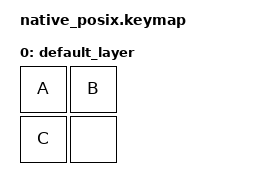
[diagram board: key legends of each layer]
#include <dt-bindings/zmk/keys.h>
#include <behaviors.dtsi>
#include <dt-bindings/zmk/kscan-mock.h>

/*
    combo 01 timeout 50
    combo 012 timeout 100
    AB is pressed within 50ms, C is never pressed.
    expected outcome: AB after 100ms
*/
/ {
	behaviors {
		combo_two {
			compatible = "zmk,behavior-combo";
			label = "COMBO_TWO";
			timeout-ms = <50>;
			key-positions = <0 1>;
			bindings = <&kp Y>;
		};

		combo_three {
			compatible = "zmk,behavior-combo";
			label = "COMBO_THREE";
			timeout-ms = <100>;
			key-positions = <0 1 2>;
			bindings = <&kp X>;
		};
	};

	keymap {
		compatible = "zmk,keymap";
		label ="Default keymap";

		default_layer {
			bindings = <
				&kp A &kp B
				&kp C &none
			>;
		};
	};
};

&kscan {
	events = <
		/* if you're debugging these, remember that the timer can be triggered between 
		  events while stepping through code. */
		/* all permutations of combo two press and release, combo triggered by timeout */
		ZMK_MOCK_PRESS(0,0,10) 
		ZMK_MOCK_PRESS(0,1,100) 
		ZMK_MOCK_RELEASE(0,0,10) 
		ZMK_MOCK_RELEASE(0,1,10)

		ZMK_MOCK_PRESS(0,1,10) 
		ZMK_MOCK_PRESS(0,0,100) 
		ZMK_MOCK_RELEASE(0,1,10)
		ZMK_MOCK_RELEASE(0,0,10) 

		ZMK_MOCK_PRESS(0,1,10) 
		ZMK_MOCK_PRESS(0,0,100) 
		ZMK_MOCK_RELEASE(0,0,10) 
		ZMK_MOCK_RELEASE(0,1,10)

		ZMK_MOCK_PRESS(0,0,10)  
		ZMK_MOCK_PRESS(0,1,100) 
		ZMK_MOCK_RELEASE(0,1,10)
		ZMK_MOCK_RELEASE(0,0,10)
	>;
};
